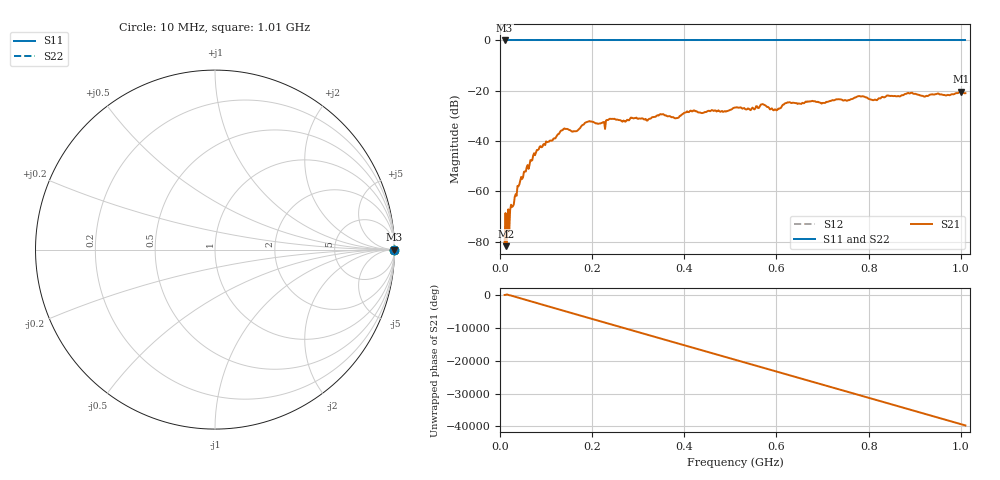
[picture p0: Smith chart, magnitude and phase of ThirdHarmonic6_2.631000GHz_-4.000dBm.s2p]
! 8/17/2025 5:52:54 AM
! C:\ANRITSUVNA\TEMP\TEMP.S2P
! CHANNEL.1
! TR.MEASUREMENT
! RAW.DATA
! RF.CORRECTION.OFF
! AVERAGING.OFF
! IF.BANDWIDTH: 5KHZ
! SWEEPTYPE:  FREQ.SWEEP(Linear)
! Reference Plane Port Info
! PORT:  PORT1  PORT2
! DISTANCE:  0  m  0  m
! TIME:  0  s  0  s
! PHASE.OFFSET:  0  deg.  0  deg.
! LOSS:  0  dB  0  dB
! REF.LOSS:  0  dB  0  dB
! REF.FREQ:  0  Hz  0  Hz
! Power Info
! POWER:  -20  dBm  -20  dBm
! EFF.POWER:  -20  dBm  -20  dBm
! SOURCE.ATTEN:  0  dB  0  dB
! TEST.ATTEN:  0  dB  0  dB
# GHZ S RI R 50.0
! FREQ.GHZ  S11RE  S11IM  S21RE  S21IM  S12RE  S12IM  S22RE  S22IM
!; PortSelection: Port_12
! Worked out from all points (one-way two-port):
!   501 points, 10 MHz to 1.01 GHz, reference 50 ohm
!   highest |S21| = -20.38 dB at 1 GHz (marker M1); lowest = -81.8 dB at 14 MHz (marker M2)
!   lowest |S11| = 0.0 dB at 10 MHz (marker M3)
!   |S11| at or under -10 dB: nowhere
!   |S22| runs from 0.0 to 0.0 dB; largest |S21 - S12| = 1.1
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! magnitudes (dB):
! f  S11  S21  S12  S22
! 10 MHz  0.0  -80.8  0.0  0.0
! 14 MHz  0.0  -81.8  0.0  0.0
! 18 MHz  0.0  -67.2  0.0  0.0
! 20 MHz  0.0  -76.0  0.0  0.0
! 42 MHz  0.0  -57.3  0.0  0.0
! 84 MHz  0.0  -43.3  0.0  0.0
! 136 MHz  0.0  -35.7  0.0  0.0
! 162 MHz  0.0  -36.1  0.0  0.0
! 178 MHz  0.0  -33.8  0.0  0.0
! 194 MHz  0.0  -32.1  0.0  0.0
! 318 MHz  0.0  -31.8  0.0  0.0
! 344 MHz  0.0  -29.9  0.0  0.0
! 382 MHz  0.0  -30.9  0.0  0.0
! 410 MHz  0.0  -28.5  0.0  0.0
! 510 MHz  0.0  -26.7  0.0  0.0
! 570 MHz  0.0  -25.3  0.0  0.0
! 598 MHz  0.0  -27.4  0.0  0.0
! 624 MHz  0.0  -24.6  0.0  0.0
! 678 MHz  0.0  -24.0  0.0  0.0
! 844 MHz  0.0  -22.0  0.0  0.0
! 1 GHz  0.0  -20.4  0.0  0.0
! 1.01 GHz  0.0  -21.0  0.0  0.0
